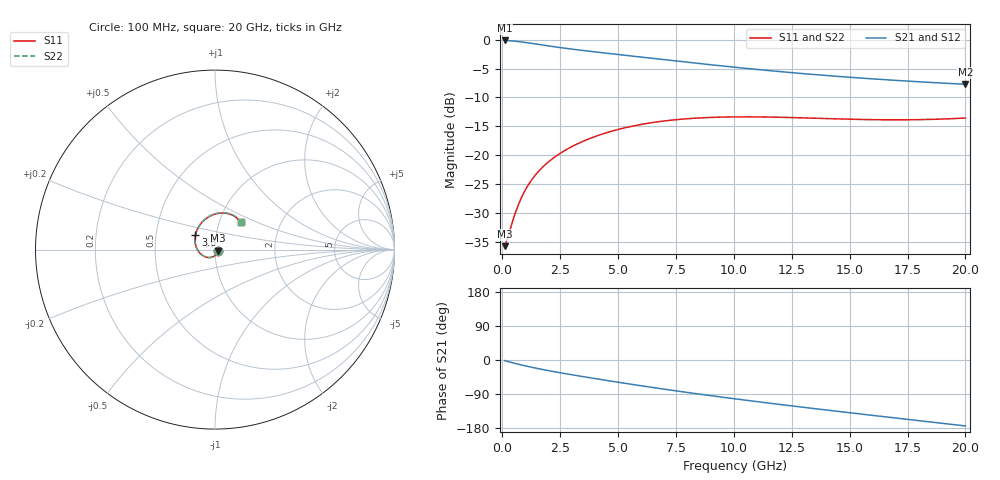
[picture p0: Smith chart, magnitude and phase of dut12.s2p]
! Touchstone file exported from HFSS 2023.1.0
!  File:  D:/Users/fzz/RDL_TSV/temp_RDL_TSV_12_1778742946.aedt
!  Generated:  3:23:29 %x4E0B%x5348  5%x6708 14, 2026
!  Design:  RDL_TSV
!  Project:  temp_RDL_TSV_12_1778742946
!  Setup:  Setup1
!  Solution:  Sweep
! Variables:
!  dtsv = 16.44um
!  hbump = 3um
!  htsv = 70.29um
!  ldown = 522.3um
!  lrdl = 140.46um
!  p = 40
!  p1 = 43.26um
!  rhole = 10um
!  subl = 2128.74um
!  t = 450um
!  tdown = 2.16um
!  trdl = 3.47um
!  viad = 10um
!  wdown = 22.85um
!  wrdl = 13.35um
!  xbump = 18um
# GHz S MA R 50.000000
! Terminal data exported
! Port[1] = TM1_1_T1
! Port[2] = TM1_4_T1
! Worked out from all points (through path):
!   200 points, 100 MHz to 20 GHz, reference 50 ohm
!   highest |S21| = -0.14 dB at 100 MHz (marker M1); lowest = -7.7 dB at 20 GHz (marker M2)
!   group delay of S21, straight-line fit = 23 ps
!   lowest |S11| = -35.7 dB at 100 MHz (marker M3), VSWR 1.03, Z = 51.6 - j0.611 ohm
!   |S11| at or under -10 dB: start of sweep to end of sweep
!   |S22| runs from -35.7 to -13.3 dB; largest |S21 - S12| = 1.8e-14
!   S11 on the Smith chart (normalised r, x): 100 MHz: 1.03, -0.01; 3.6 GHz: 0.79, +0.13; 20 GHz: 1.26, +0.41
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0.1  0.01642 -21.1  0.9837 -1.7  0.9837 -1.7  0.01642 -21.1
! Gamma 0 0 0 0
! Port Impedance 50 0 50 0
0.2  0.0185 -40.0  0.982 -3.3  0.982 -3.3  0.0185 -40.0
0.5  0.02921 -80.0  0.9718 -8.2  0.9718 -8.2  0.02921 -80.0
0.7  0.03768 -98.1  0.9621 -11.2  0.9621 -11.2  0.03769 -98.2
1  0.05045 -119.5  0.9449 -15.6  0.9449 -15.6  0.05047 -119.6
1.3  0.06262 -136.9  0.926 -19.6  0.926 -19.6  0.06267 -137.0
1.7  0.07765 -156.2  0.9004 -24.6  0.9004 -24.6  0.07776 -156.3
2.2  0.09469 -176.2  0.8702 -30.4  0.8702 -30.4  0.0949 -176.3
2.8  0.1132 164.3  0.838 -36.9  0.838 -36.9  0.1135 164.2
3.5  0.1326 145.8  0.8051 -44.0  0.8051 -44.0  0.1331 145.7
3.6  0.1352 143.5  0.8007 -45.0  0.8007 -45.0  0.1358 143.4
5.1  0.1694 114.7  0.74 -59.6  0.74 -59.6  0.1703 114.6
5.9  0.1836 102.9  0.7101 -67.1  0.7101 -67.1  0.1847 102.8
6.8  0.196 91.7  0.678 -75.3  0.678 -75.3  0.1974 91.6
8.5  0.2104 75.1  0.622 -89.9  0.622 -89.9  0.2121 75.1
10.1  0.2151 63.8  0.5756 -102.9  0.5756 -102.9  0.217 63.7
11.7  0.214 55.7  0.5359 -115.2  0.5359 -115.2  0.2161 55.6
13.4  0.2097 50.1  0.5005 -127.7  0.5005 -127.7  0.2119 49.9
15  0.2053 47.2  0.4728 -139.2  0.4728 -139.2  0.2076 47.0
16.7  0.2028 46.1  0.4483 -151.1  0.4483 -151.1  0.205 45.8
18.3  0.2041 46.3  0.4288 -162.2  0.4288 -162.2  0.2062 45.9
20  0.2102 47.0  0.411 -174.0  0.411 -174.0  0.212 46.5
